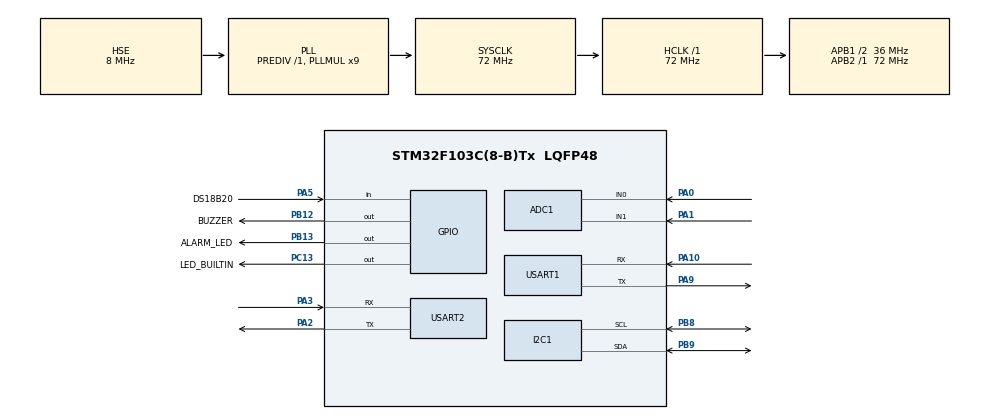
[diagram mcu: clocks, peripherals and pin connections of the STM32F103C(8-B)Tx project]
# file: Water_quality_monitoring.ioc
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ADC1.Channel-0\#ChannelRegularConversion=ADC_CHANNEL_1
ADC1.NbrOfConversionFlag=1
ADC1.Rank-0\#ChannelRegularConversion=1
ADC1.SamplingTime-0\#ChannelRegularConversion=ADC_SAMPLETIME_1CYCLE_5
ADC1.master=1
Mcu.Family=STM32F1
Mcu.Name=STM32F103C(8-B)Tx
Mcu.Package=LQFP48
NVIC.PriorityGroup=NVIC_PRIORITYGROUP_4
NVIC.USART2_IRQn=true\:0\:0\:false\:false\:true\:true\:true\:true
PA0-WKUP.Signal=ADCx_IN0
PA1.Signal=ADCx_IN1
PA10.Mode=Asynchronous
PA10.Signal=USART1_RX
PA13.Mode=Serial_Wire
PA13.Signal=SYS_JTMS-SWDIO
PA14.Mode=Serial_Wire
PA14.Signal=SYS_JTCK-SWCLK
PA2.Mode=Asynchronous
PA2.Signal=USART2_TX
PA3.Mode=Asynchronous
PA3.Signal=USART2_RX
PA5.GPIO_Label=DS18B20
PA5.GPIO_PuPd=GPIO_PULLUP
PA5.Signal=GPIO_Input
PA9.Mode=Asynchronous
PA9.Signal=USART1_TX
PB12.GPIO_Label=BUZZER
PB12.Signal=GPIO_Output
PB13.GPIO_Label=ALARM_LED
PB13.Signal=GPIO_Output
PB8.Mode=I2C
PB8.Signal=I2C1_SCL
PB9.Mode=I2C
PB9.Signal=I2C1_SDA
PC13-TAMPER-RTC.GPIO_Label=LED_BUILTIN
PC13-TAMPER-RTC.Signal=GPIO_Output
PD0-OSC_IN.Mode=HSE-External-Oscillator
PD0-OSC_IN.Signal=RCC_OSC_IN
PD1-OSC_OUT.Mode=HSE-External-Oscillator
PD1-OSC_OUT.Signal=RCC_OSC_OUT
ProjectManager.HeapSize=0x200
ProjectManager.StackSize=0x400
ProjectManager.TargetToolchain=CMake
RCC.ADCPresc=RCC_ADCPCLK2_DIV6
RCC.AHBFreq_Value=72000000
RCC.APB1CLKDivider=RCC_HCLK_DIV2
RCC.APB1Freq_Value=36000000
RCC.APB1TimFreq_Value=72000000
RCC.APB2Freq_Value=72000000
RCC.APB2TimFreq_Value=72000000
RCC.HCLKFreq_Value=72000000
RCC.PLLMUL=RCC_PLL_MUL9
RCC.PLLSourceVirtual=RCC_PLLSOURCE_HSE
RCC.SYSCLKFreq_VALUE=72000000
RCC.SYSCLKSource=RCC_SYSCLKSOURCE_PLLCLK
RCC.USBFreq_Value=72000000
SH.ADCx_IN0.0=ADC1_IN0,IN0
SH.ADCx_IN1.0=ADC1_IN1,IN1
USART1.VirtualMode=VM_ASYNC
USART2.VirtualMode=VM_ASYNC
board=custom

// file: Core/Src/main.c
/* USER CODE BEGIN Header */
/**
  ******************************************************************************
  * @file           : main.c
  * @brief          : Main program body
  ******************************************************************************
  * @attention
  *
  * Copyright (c) 2026 STMicroelectronics.
  * All rights reserved.
  *
  * This software is licensed under terms that can be found in the LICENSE file
  * in the root directory of this software component.
  * If no LICENSE file comes with this software, it is provided AS-IS.
  *
  ******************************************************************************
  */
/* USER CODE END Header */
#include "main.h"
#include "adc.h"
#include "i2c.h"
#include "usart.h"
#include "gpio.h"

/* USER CODE BEGIN Includes */
#include <stdio.h>
#include <string.h>
#include "esp8266.h"
#include "oled.h"

/* USER CODE END Includes */

void SystemClock_Config(void);

int main(void)
{

  /* MCU Configuration--------------------------------------------------------*/

  /* Reset of all peripherals, Initializes the Flash interface and the Systick. */
  HAL_Init();

  /* Configure the system clock */
  SystemClock_Config();

  /* Initialize all configured peripherals */
  MX_GPIO_Init();
  MX_ADC1_Init();
  MX_USART1_UART_Init();
  MX_I2C1_Init();
  MX_USART2_UART_Init();
  /* USER CODE BEGIN 2 */
  HAL_GPIO_WritePin(GPIOC, GPIO_PIN_13, GPIO_PIN_RESET);  // 板载LED亮

  /* OLED 初始化 + 显示（现成驱动，硬件 I2C 地址 0x78） */
  OLED_Init();
  OLED_Clear();
  OLED_ShowString(0, 0, "Water Sentinel", 16);
  OLED_ShowString(0, 16, "pH: 7.25", 16);
  OLED_ShowString(0, 32, "TDS: 120ppm", 16);
  OLED_ShowString(0, 48, "Temp: 25.6 C", 16);
  OLED_Refresh();

  /* ESP8266 初始化：启动中断接收 + 连接WiFi */
  ESP8266_StartReceive();
  if (ESP8266_JoinAP("QIU'SPC", ";645Vk77") == ESP_OK)
  {
    printf("WiFi连接成功\r\n");
  }
  else
  {
    printf("WiFi连接失败\r\n");
  }

  /* USER CODE END 2 */

  /* Infinite loop */
  /* USER CODE BEGIN WHILE */
  while (1)
  {
    HAL_GPIO_TogglePin(GPIOC, GPIO_PIN_13);  // 翻转LED
    HAL_Delay(1000);
    /* USER CODE END WHILE */

    /* USER CODE BEGIN 3 */
    /* 上报到巴法云（TCP 方式，官方协议 bemfa.com:8344） */
    if (ESP8266_ReportBemfa("95c447de6f16c0c035c5b2ba0127a107",   // 私钥（控制台获取）
                            "watersentinel",                       // 主题（与控制台一致）
                            "7.25,120,25.6") == ESP_OK)           // 数据：pH,TDS,水温
      printf("云平台上报成功\r\n");
    else
      printf("云平台上报失败\r\n");
    HAL_Delay(60000);   // 60秒一次（测试期），正式版再调成10分钟
    /* OLED 动态刷新显示 */
    OLED_ShowString(0, 16, "pH: 7.25   ", 16);
    OLED_ShowString(0, 32, "TDS: 120ppm", 16);
    OLED_ShowString(0, 48, "Temp: 25.6C", 16);
    OLED_Refresh();

  }
  /* USER CODE END 3 */
}

void SystemClock_Config(void)
{
  RCC_OscInitTypeDef RCC_OscInitStruct = {0};
  RCC_ClkInitTypeDef RCC_ClkInitStruct = {0};
  RCC_PeriphCLKInitTypeDef PeriphClkInit = {0};

  /** Initializes the RCC Oscillators according to the specified parameters
  * in the RCC_OscInitTypeDef structure.
  */
  RCC_OscInitStruct.OscillatorType = RCC_OSCILLATORTYPE_HSE;
  RCC_OscInitStruct.HSEState = RCC_HSE_ON;
  RCC_OscInitStruct.HSEPredivValue = RCC_HSE_PREDIV_DIV1;
  RCC_OscInitStruct.HSIState = RCC_HSI_ON;
  RCC_OscInitStruct.PLL.PLLState = RCC_PLL_ON;
  RCC_OscInitStruct.PLL.PLLSource = RCC_PLLSOURCE_HSE;
  RCC_OscInitStruct.PLL.PLLMUL = RCC_PLL_MUL9;
  if (HAL_RCC_OscConfig(&RCC_OscInitStruct) != HAL_OK)
  {
    Error_Handler();
  }

  /** Initializes the CPU, AHB and APB buses clocks
  */
  RCC_ClkInitStruct.ClockType = RCC_CLOCKTYPE_HCLK|RCC_CLOCKTYPE_SYSCLK
                              |RCC_CLOCKTYPE_PCLK1|RCC_CLOCKTYPE_PCLK2;
  RCC_ClkInitStruct.SYSCLKSource = RCC_SYSCLKSOURCE_PLLCLK;
  RCC_ClkInitStruct.AHBCLKDivider = RCC_SYSCLK_DIV1;
  RCC_ClkInitStruct.APB1CLKDivider = RCC_HCLK_DIV2;
  RCC_ClkInitStruct.APB2CLKDivider = RCC_HCLK_DIV1;

  if (HAL_RCC_ClockConfig(&RCC_ClkInitStruct, FLASH_LATENCY_2) != HAL_OK)
  {
    Error_Handler();
  }
  PeriphClkInit.PeriphClockSelection = RCC_PERIPHCLK_ADC;
  PeriphClkInit.AdcClockSelection = RCC_ADCPCLK2_DIV6;
  if (HAL_RCCEx_PeriphCLKConfig(&PeriphClkInit) != HAL_OK)
  {
    Error_Handler();
  }
}

/* USER CODE BEGIN 4 */
#include <stdio.h>
#include <sys/stat.h>

int _write(int file, char *ptr, int len)
{
  HAL_UART_Transmit(&huart1, (uint8_t *)ptr, len, 100);
  return len;
}
/* USER CODE END 4 */

void Error_Handler(void)
{
  __disable_irq();
  while (1)
  {
  }
}
